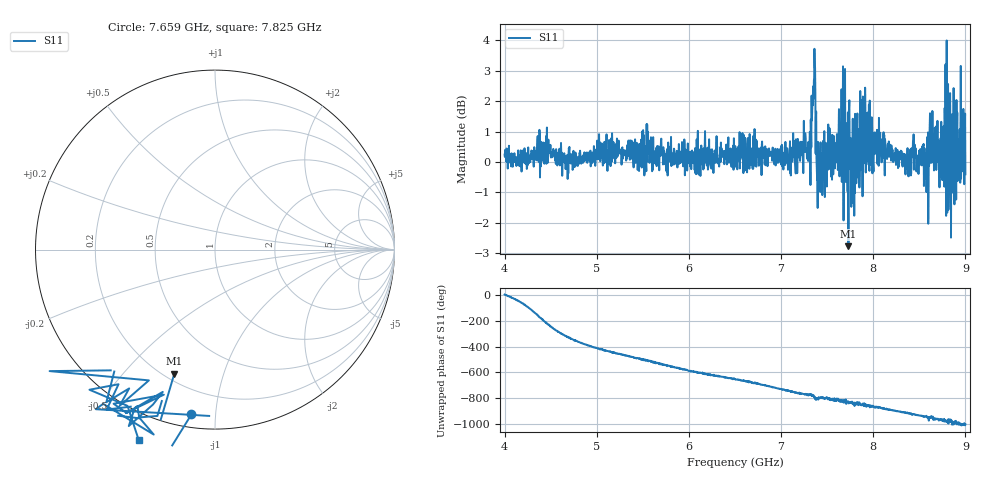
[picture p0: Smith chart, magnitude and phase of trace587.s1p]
! Created with skrf 1.8.0 (http://scikit-rf.org).
# Hz S RI R 50.0
!freq ReS11 ImS11
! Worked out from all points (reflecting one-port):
!   1601 points, 4 GHz to 9 GHz, reference 50 ohm
!   lowest |S11| = -2.8 dB at 7.731 GHz (marker M1), VSWR 6.34, Z = 11.9 - j34.9 ohm
!   phase of S11 starts at 5 deg and turns -1011 deg over the sweep
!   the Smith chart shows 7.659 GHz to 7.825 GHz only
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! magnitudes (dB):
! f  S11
! 4 GHz  0.2
! 4.625 GHz  -0.5
! 5.25 GHz  0.4
! 5.566 GHz  0.4
! 5.625 GHz  0.2
! 5.875 GHz  -0.2
! 6.5 GHz  0.4
! 7.125 GHz  0.5
! 7.294 GHz  0.0
! 7.356 GHz  2.7
! 7.412 GHz  -0.6
! 7.622 GHz  -0.1
! 7.675 GHz  2.0
! 7.731 GHz  -2.8
! 7.75 GHz  -0.2
! 7.775 GHz  0.3
! 7.822 GHz  0.0
! 7.928 GHz  0.8
! 7.981 GHz  0.1
! 8.375 GHz  -0.1
! 8.441 GHz  -0.3
! 8.575 GHz  0.1
! 8.628 GHz  0.0
! 8.747 GHz  0.1
! 8.788 GHz  0.5
! 8.841 GHz  1.4
! 8.972 GHz  0.5
! 9 GHz  -0.4
